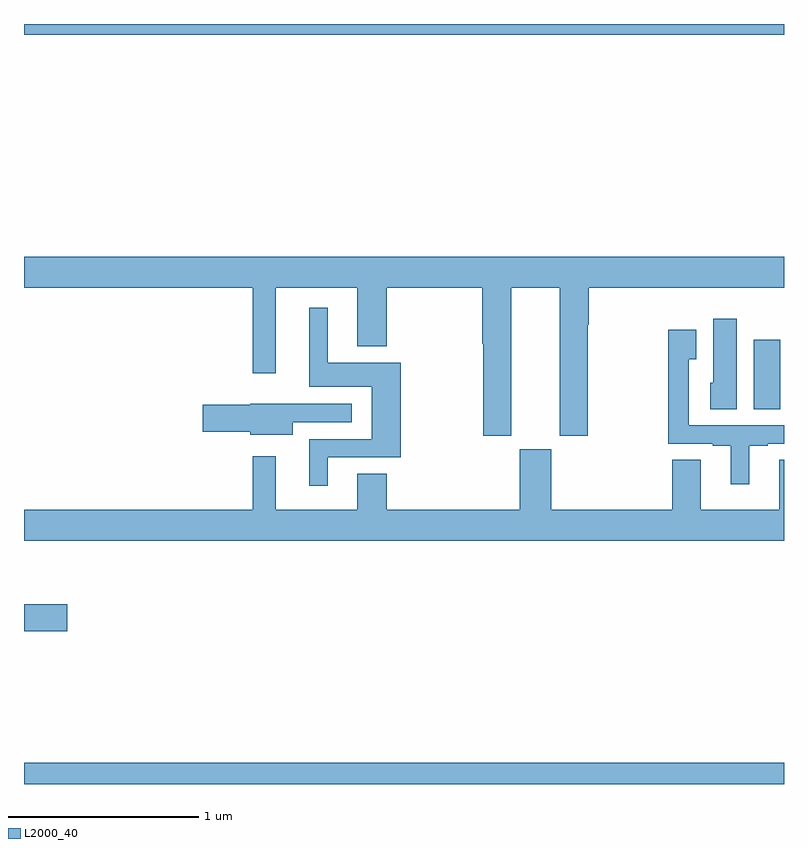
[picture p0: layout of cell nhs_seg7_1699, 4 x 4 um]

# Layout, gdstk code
import gdstk
lib = gdstk.Library(unit=1e-6, precision=1e-09)
def R(c, l, rs):  # rectangles x0, y0, x1, y1
    for r in rs: c.add(gdstk.rectangle(r[:2], r[2:], *l))
def P(c, l, *ps):  # polygons
    for p in ps: c.add(gdstk.Polygon(p, *l))
L2000_40 = (2000, 40)

nhs_seg7_1699 = lib.new_cell('nhs_seg7_1699')
R(nhs_seg7_1699, L2000_40, [(227,1002,231,1002.112), (227,1002.803,227.227,1002.945), (230.84,1003.972,230.98,1004.338), (227,1005.944,231,1006)])
P(nhs_seg7_1699, L2000_40, [(229.564,1004.612),(229.82,1004.612),(229.82,1003.833),(229.968,1003.833),(229.968,1004.416),(229.973,1004.416),(229.973,1004.612),(231,1004.612),(231,1004.776),(227,1004.776),(227,1004.612),(228.204,1004.612),(228.204,1004.163),(228.325,1004.163),(228.325,1004.612),(228.755,1004.612),(228.755,1004.303),(228.908,1004.303),(228.908,1004.612),(229.412,1004.612),(229.412,1004.316),(229.417,1004.316),(229.417,1003.833),(229.564,1003.833)],
  [(228.598,1003.719),(228.984,1003.719),(228.984,1004.218),(228.598,1004.218),(228.598,1004.506),(228.5,1004.506),(228.5,1004.09),(228.83,1004.09),(228.83,1003.815),(228.5,1003.815),(228.5,1003.569),(228.598,1003.569)],
  [(230.752,1004.449),(230.627,1004.449),(230.627,1004.112),(230.612,1004.112),(230.612,1003.972),(230.752,1003.972)],
  [(230.818,1003.779),(230.914,1003.779),(230.914,1003.791),(231,1003.791),(231,1003.887),(230.499,1003.887),(230.499,1004.236),(230.539,1004.236),(230.539,1004.392),(230.391,1004.392),(230.391,1003.791),(230.624,1003.791),(230.624,1003.779),(230.72,1003.779),(230.72,1003.578),(230.818,1003.578)],
  [(228.415,1003.905),(228.724,1003.905),(228.724,1004.001),(228.411,1004.001),(228.411,1004.002),(228.192,1004.002),(228.192,1003.997),(227.94,1003.997),(227.94,1003.855),(228.192,1003.855),(228.192,1003.838),(228.415,1003.838)],
  [(229.61,1003.761),(229.61,1003.444),(228.908,1003.444),(228.908,1003.634),(228.755,1003.634),(228.755,1003.444),(228.325,1003.444),(228.325,1003.726),(228.204,1003.726),(228.204,1003.444),(227,1003.444),(227,1003.28),(231,1003.28),(231,1003.706),(230.975,1003.706),(230.975,1003.444),(230.563,1003.444),(230.563,1003.706),(230.411,1003.706),(230.411,1003.444),(229.774,1003.444),(229.774,1003.761)])

lib.write_gds('nhs_seg7_1699.gds')
